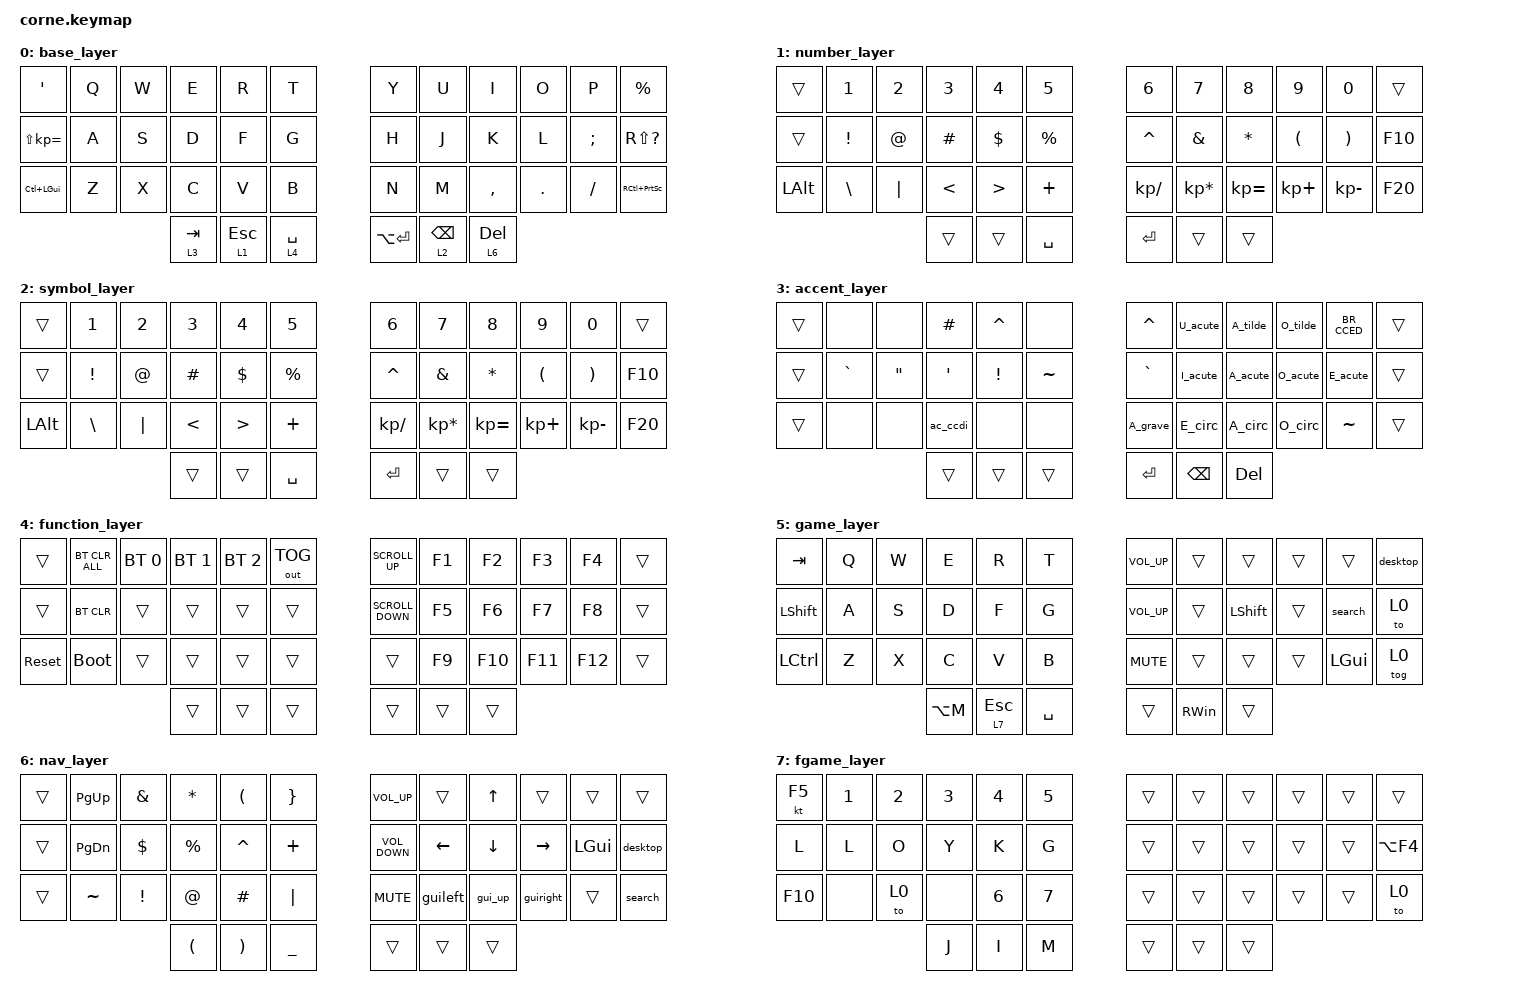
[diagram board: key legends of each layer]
#include "keys_br_abnt2.h"
#include "helper.h"
#include "accents.dtsi"
#include <behaviors.dtsi>
#include <dt-bindings/zmk/bt.h>
#include <dt-bindings/zmk/keys.h>
#include <dt-bindings/zmk/keys.h>
#include <dt-bindings/zmk/outputs.h>

#define BASE 0
#define NUME 1
#define SYMB 2
#define FUNC 3
#define GAME 4
#define NAVI 5
#define FGAM 6
#define ACCE 7

AC_KEY(A_acute, BR_A, BR_ACUT)
AC_KEY(A_grave, BR_A, BR_GRAVE)
AC_KEY(A_tilde, BR_A, BR_TILDE)
AC_KEY(A_circ,  BR_A, BR_CIRC)

AC_KEY(E_acute, BR_E, BR_ACUT)
AC_KEY(E_circ,  BR_E, BR_CIRC)

AC_KEY(I_acute, BR_I, BR_ACUT)

AC_KEY(O_acute, BR_O, BR_ACUT)
AC_KEY(O_tilde, BR_O, BR_TILDE)
AC_KEY(O_circ,  BR_O, BR_CIRC)

AC_KEY(U_acute, BR_U, BR_ACUT)

UNDEAD_KEY(tilde, BR_TILDE)
UNDEAD_KEY(caret, BR_CIRC)
UNDEAD_KEY(grave, BR_GRAVE)

// Behavior configuration

&mt {
    tapping-term-ms = <200>;
    quick_tap_ms = <0>;
    flavor = "tap-preferred";
};

&lt {
    tapping-term-ms = <200>;
    quick_tap_ms = <0>;
    flavor = "tap-preferred";
};

&sk {
    release-after-ms = <500>;
    quick-release;
};

/ {
    macros {
        close: close {
            compatible = "zmk,behavior-macro";
            label = "new_macro";
            #binding-cells = <0>;
            bindings =
                <&macro_press>,
                <&kp LALT>,
                <&macro_tap>,
                <&kp F4>,
                <&macro_release>,
                <&kp LALT>;
        };

        guileft: guileft {
            compatible = "zmk,behavior-macro";
            label = "GUILEFT";
            #binding-cells = <0>;
            bindings =
                <&macro_press>,
                <&kp LEFT_GUI>,
                <&macro_tap>,
                <&kp LEFT>,
                <&macro_release>,
                <&kp LEFT_GUI>;
        };

        guiright: guiright {
            compatible = "zmk,behavior-macro";
            label = "GUIRIGHT";
            #binding-cells = <0>;
            bindings =
                <&macro_press>,
                <&kp LEFT_GUI>,
                <&macro_tap>,
                <&kp RIGHT>,
                <&macro_release>,
                <&kp LEFT_WIN>;
        };

        lock: lock {
            compatible = "zmk,behavior-macro";
            label = "LOCK";
            #binding-cells = <0>;
            bindings =
                <&macro_press>,
                <&kp LEFT_GUI>,
                <&macro_tap>,
                <&kp L>,
                <&macro_release>,
                <&kp LEFT_GUI>;
        };

        gui_up: gui_up {
            compatible = "zmk,behavior-macro";
            #binding-cells = <0>;
            bindings =
                <&macro_press>,
                <&kp LEFT_GUI>,
                <&macro_tap>,
                <&kp UP_ARROW>,
                <&macro_release>,
                <&kp LEFT_GUI>;

            label = "GUI_UP";
        };

        desktop: desktop {
            compatible = "zmk,behavior-macro";
            #binding-cells = <0>;
            bindings =
                <&macro_press>,
                <&kp LEFT_GUI>,
                <&macro_tap>,
                <&kp D>,
                <&macro_release>,
                <&kp LEFT_GUI>;

            label = "DESKTOP";
        };

        search: search {
            compatible = "zmk,behavior-macro";
            #binding-cells = <0>;
            bindings =
                <&macro_press>,
                <&kp LALT>,
                <&macro_tap>,
                <&kp SPACE>,
                <&macro_release>,
                <&kp LALT>;

            label = "SEARCH";
        };
    };
};

/ {
    combos {
        compatible = "zmk,combos";

        funcion {
            bindings = <&mo 4>;
            key-positions = <15 16>;
            layers = <0>;
        };

        game {
            bindings = <&tog 5>;
            key-positions = <11 23 35>;
            layers = <0>;
        };

        fn {
            bindings = <&mo 4>;
            key-positions = <41 36>;
        };
    };

    keymap {
        compatible = "zmk,keymap";

        base_layer {
            bindings = <
&kp APOSTROPHE    &kp Q  &kp W  &kp E      &kp R         &kp T          &kp Y        &kp U            &kp I         &kp O    &kp P     &kp PERCENT
&kp LS(KP_EQUAL)  &kp A  &kp S  &kp D      &kp F         &kp G          &kp H        &kp J            &kp K         &kp L    &kp SEMI  &kp RS(QMARK)
&kp LC(LEFT_GUI)  &kp Z  &kp X  &kp C      &kp V         &kp B          &kp N        &kp M            &kp COMMA     &kp DOT  &kp FSLH  &kp RC(PRINTSCREEN)
                                &lt 3 TAB  &lt 1 ESCAPE  &lt 4 SPACE    &kp LA(RET)  &lt 2 BACKSPACE  &lt 6 DELETE
            >;
        };

        number_layer {
            bindings = <
&trans        &kp NUMBER_1   &kp NUMBER_2  &kp NUMBER_3   &kp NUMBER_4      &kp N5         &kp NUMBER_6   &kp N7           &kp N8        &kp N9                &kp N0                 &trans
&trans        &kp EXCL       &kp AT_SIGN   &kp HASH       &kp DOLLAR        &kp PERCENT    &kp CARET      &kp AMPERSAND    &kp ASTRK     &kp LEFT_PARENTHESIS  &kp RIGHT_PARENTHESIS  &kp F10
&kp LEFT_ALT  &kp BACKSLASH  &kp PIPE      &kp LESS_THAN  &kp GREATER_THAN  &kp PLUS       &kp KP_DIVIDE  &kp KP_ASTERISK  &kp KP_EQUAL  &kp KP_PLUS           &kp KP_MINUS           &kp F20
                                           &trans         &trans            &kp SPACE      &kp RET        &trans           &trans
            >;
        };

        symbol_layer {
            bindings = <
&trans        &kp NUMBER_1   &kp NUMBER_2  &kp NUMBER_3   &kp NUMBER_4      &kp N5         &kp NUMBER_6   &kp N7           &kp N8        &kp N9                &kp N0                 &trans
&trans        &kp EXCL       &kp AT_SIGN   &kp HASH       &kp DOLLAR        &kp PERCENT    &kp CARET      &kp AMPERSAND    &kp ASTRK     &kp LEFT_PARENTHESIS  &kp RIGHT_PARENTHESIS  &kp F10
&kp LEFT_ALT  &kp BACKSLASH  &kp PIPE      &kp LESS_THAN  &kp GREATER_THAN  &kp PLUS       &kp KP_DIVIDE  &kp KP_ASTERISK  &kp KP_EQUAL  &kp KP_PLUS           &kp KP_MINUS           &kp F20
                                           &trans         &trans            &kp SPACE      &kp RET        &trans           &trans
            >;
        };

        accent_layer {
            bindings = <
&trans  &none      &none    &kp HASH  &kp CARET  &none        &kp CARET  &U_acute  &A_tilde  &O_tilde  &kp BR_CCED  &trans
&trans  &kp GRAVE  &kp DQT  &kp SQT   &kp EXCL   &kp TILDE    &kp GRAVE  &I_acute  &A_acute  &O_acute  &E_acute     &trans
&trans  &none      &none    &ac_ccdi  &none      &none        &A_grave   &E_circ   &A_circ   &O_circ   &kp TILDE    &trans
                            &trans    &trans     &trans       &kp ENTER  &kp BSPC  &kp DEL
            >;
        };

        function_layer {
            bindings = <
&trans      &bt BT_CLR_ALL  &bt BT_SEL 0  &bt BT_SEL 1  &bt BT_SEL 2  &out OUT_TOG    &kp K_SCROLL_UP    &kp F1  &kp F2   &kp F3   &kp F4   &trans
&trans      &bt BT_CLR      &trans        &trans        &trans        &trans          &kp K_SCROLL_DOWN  &kp F5  &kp F6   &kp F7   &kp F8   &trans
&sys_reset  &bootloader     &trans        &trans        &trans        &trans          &trans             &kp F9  &kp F10  &kp F11  &kp F12  &trans
                                          &trans        &trans        &trans          &trans             &trans  &trans
            >;
        };

        game_layer {
            bindings = <
&kp TAB         &kp Q  &kp W  &kp E      &kp R         &kp T        &kp C_VOLUME_UP  &trans         &trans          &trans  &trans        &desktop
&kp LEFT_SHIFT  &kp A  &kp S  &kp D      &kp F         &kp G        &kp C_VOLUME_UP  &trans         &kp LEFT_SHIFT  &trans  &search       &to 0
&kp LCTRL       &kp Z  &kp X  &kp C      &kp V         &kp B        &kp K_MUTE       &trans         &trans          &trans  &kp LEFT_GUI  &tog 0
                              &kp LA(M)  &lt 7 ESCAPE  &kp SPACE    &trans           &kp RIGHT_WIN  &trans
            >;
        };

        nav_layer {
            bindings = <
&trans  &kp PG_UP  &kp AMPS  &kp ASTRK  &kp LPAR   &kp RBRC          &kp C_VOLUME_UP    &trans          &kp UP_ARROW  &trans     &trans    &trans
&trans  &kp PG_DN  &kp DLLR  &kp PRCNT  &kp CARET  &kp PLUS          &kp C_VOLUME_DOWN  &kp LEFT_ARROW  &kp DOWN      &kp RIGHT  &kp LGUI  &desktop
&trans  &kp TILDE  &kp EXCL  &kp AT     &kp HASH   &kp PIPE          &kp K_MUTE         &guileft        &gui_up       &guiright  &trans    &search
                             &kp LPAR   &kp RPAR   &kp UNDERSCORE    &trans             &trans          &trans
            >;
        };

        fgame_layer {
            bindings = <
&kt F5   &kp NUMBER_1  &kp NUMBER_2  &kp NUMBER_3  &kp NUMBER_4  &kp NUMBER_5    &trans  &trans  &trans  &trans  &trans  &trans
&kp L    &kp L         &kp O         &kp Y         &kp K         &kp G           &trans  &trans  &trans  &trans  &trans  &kp LA(F4)
&kp F10  &none         &to 0         &none         &kp NUMBER_6  &kp NUMBER_7    &trans  &trans  &trans  &trans  &trans  &to 0
                                     &kp J         &kp I         &kp M           &trans  &trans  &trans
            >;
        };
    };
};
